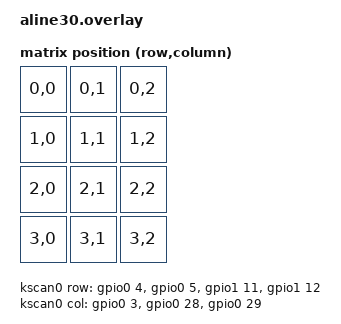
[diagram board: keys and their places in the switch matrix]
#include <dt-bindings/zmk/matrix_transform.h>
#include <dt-bindings/gpio/gpio.h>

/ {
    chosen {
        zmk,kscan = &kscan0;
        zmk,matrix_transform = &default_transform;
    };

    kscan0: kscan {
        compatible = "zmk,kscan-gpio-matrix";
        diode-direction = "col2row";

        row-gpios =
            <&gpio0 4 (GPIO_ACTIVE_LOW | GPIO_PULL_UP)>,
            <&gpio0 5 (GPIO_ACTIVE_LOW | GPIO_PULL_UP)>,
            <&gpio1 11 (GPIO_ACTIVE_LOW | GPIO_PULL_UP)>,
            <&gpio1 12 (GPIO_ACTIVE_LOW | GPIO_PULL_UP)>;

        col-gpios =
            <&gpio0 3 GPIO_ACTIVE_LOW>,
            <&gpio0 28 GPIO_ACTIVE_LOW>,
            <&gpio0 29 GPIO_ACTIVE_LOW>;
    };

    default_transform: key_transform0 {
        compatible = "zmk,matrix-transform";

        rows = <4>;
        columns = <3>;

        map = <
            RC(0,0) RC(0,1) RC(0,2)
            RC(1,0) RC(1,1) RC(1,2)
            RC(2,0) RC(2,1) RC(2,2)
            RC(3,0) RC(3,1) RC(3,2)
        >;
    };
};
